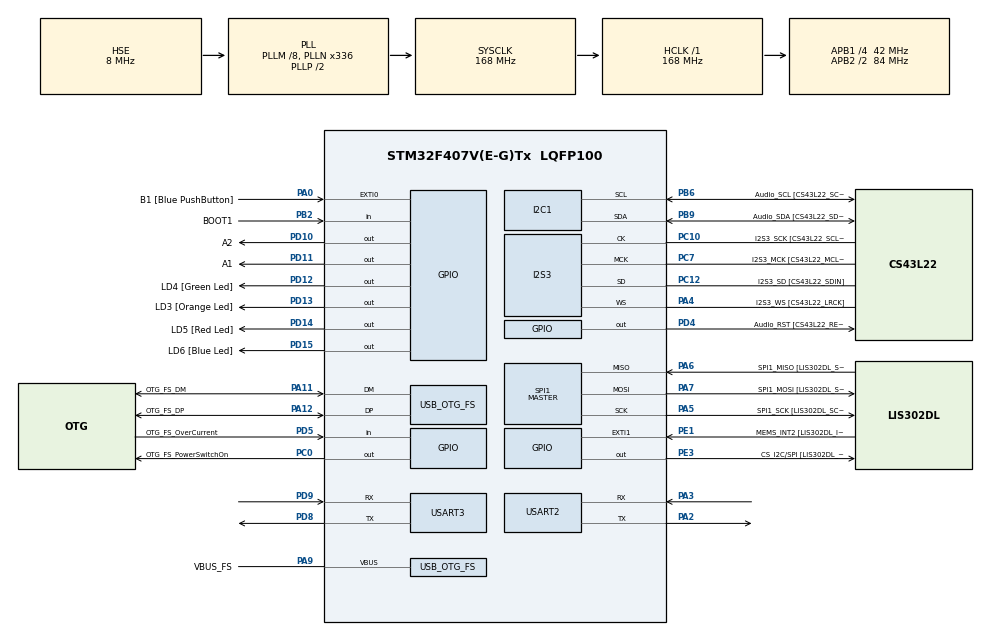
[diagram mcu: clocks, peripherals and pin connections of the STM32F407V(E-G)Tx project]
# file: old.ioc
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I2S3.AudioFreq-Half_Duplex_Master=I2S_AUDIOFREQ_96K
I2S3.ErrorAudioFreq=-2.34 %
I2S3.ErrorAudioFreq-Half_Duplex_Master=0.8 %
I2S3.FullDuplexMode=I2S_FULLDUPLEXMODE_DISABLE
I2S3.Instance=SPI$Index
I2S3.RealAudioFreq=93.75 KHz
I2S3.RealAudioFreq-Half_Duplex_Master=96.774 KHz
I2S3.VirtualMode=I2S_MODE_MASTER
Mcu.Family=STM32F4
Mcu.Name=STM32F407V(E-G)Tx
Mcu.Package=LQFP100
NVIC.OTG_FS_IRQn=true\:0\:0\:false\:false\:true\:true\:true
NVIC.PriorityGroup=NVIC_PRIORITYGROUP_0
PA0-WKUP.GPIO_Label=B1 [Blue PushButton]
PA0-WKUP.GPIO_ModeDefaultEXTI=GPIO_MODE_EVT_RISING
PA0-WKUP.GPIO_PuPd=GPIO_NOPULL
PA0-WKUP.Signal=GPXTI0
PA10.GPIO_Label=OTG_FS_ID
PA10.GPIO_Mode=GPIO_MODE_AF_PP
PA10.GPIO_PuPd=GPIO_NOPULL
PA10.GPIO_Speed=GPIO_SPEED_FREQ_LOW
PA10.Signal=USB_OTG_FS_ID
PA11.GPIO_Label=OTG_FS_DM
PA11.GPIO_Mode=GPIO_MODE_AF_PP
PA11.GPIO_PuPd=GPIO_NOPULL
PA11.GPIO_Speed=GPIO_SPEED_FREQ_LOW
PA11.Mode=Host_Only
PA11.Signal=USB_OTG_FS_DM
PA12.GPIO_Label=OTG_FS_DP
PA12.GPIO_Mode=GPIO_MODE_AF_PP
PA12.GPIO_PuPd=GPIO_NOPULL
PA12.GPIO_Speed=GPIO_SPEED_FREQ_LOW
PA12.Mode=Host_Only
PA12.Signal=USB_OTG_FS_DP
PA13.GPIO_Label=SWDIO
PA13.Mode=Serial_Wire
PA13.Signal=SYS_JTMS-SWDIO
PA14.GPIO_Label=SWCLK
PA14.Mode=Serial_Wire
PA14.Signal=SYS_JTCK-SWCLK
PA2.Mode=Asynchronous
PA2.Signal=USART2_TX
PA3.Mode=Asynchronous
PA3.Signal=USART2_RX
PA4.GPIO_Label=I2S3_WS [CS43L22_LRCK]
PA4.GPIO_Mode=GPIO_MODE_AF_PP
PA4.GPIO_PuPd=GPIO_NOPULL
PA4.GPIO_Speed=GPIO_SPEED_FREQ_LOW
PA4.Mode=Half_Duplex_Master
PA4.Signal=I2S3_WS
PA5.GPIO_Label=SPI1_SCK [LIS302DL_SCL/SPC]
PA5.GPIO_Mode=GPIO_MODE_AF_PP
PA5.GPIO_PuPd=GPIO_NOPULL
PA5.GPIO_Speed=GPIO_SPEED_FREQ_LOW
PA5.Mode=Full_Duplex_Master
PA5.Signal=SPI1_SCK
PA6.GPIO_Label=SPI1_MISO [LIS302DL_SDO]
PA6.GPIO_Mode=GPIO_MODE_AF_PP
PA6.GPIO_PuPd=GPIO_NOPULL
PA6.GPIO_Speed=GPIO_SPEED_FREQ_LOW
PA6.Mode=Full_Duplex_Master
PA6.Signal=SPI1_MISO
PA7.GPIO_Label=SPI1_MOSI [LIS302DL_SDA/SDI/SDO]
PA7.GPIO_Mode=GPIO_MODE_AF_PP
PA7.GPIO_PuPd=GPIO_NOPULL
PA7.GPIO_Speed=GPIO_SPEED_FREQ_LOW
PA7.Mode=Full_Duplex_Master
PA7.Signal=SPI1_MOSI
PA9.GPIO_Label=VBUS_FS
PA9.GPIO_Mode=GPIO_MODE_INPUT
PA9.GPIO_PuPd=GPIO_NOPULL
PA9.Mode=Activate_VBUS
PA9.Signal=USB_OTG_FS_VBUS
PB10.GPIO_Label=CLK_IN [MP45DT02_CLK]
PB10.GPIO_Mode=GPIO_MODE_AF_PP
PB10.GPIO_PuPd=GPIO_NOPULL
PB10.GPIO_Speed=GPIO_SPEED_FREQ_LOW
PB10.Signal=I2S2_CK
PB2.GPIO_Label=BOOT1
PB2.GPIO_Mode=GPIO_MODE_INPUT
PB2.GPIO_PuPd=GPIO_NOPULL
PB2.Signal=GPIO_Input
PB3.GPIO_Label=SWO
PB3.Signal=SYS_JTDO-SWO
PB6.GPIO_Label=Audio_SCL [CS43L22_SCL]
PB6.GPIO_Mode=GPIO_MODE_AF_OD
PB6.GPIO_PuPd=GPIO_NOPULL
PB6.GPIO_Speed=GPIO_SPEED_FREQ_LOW
PB6.Mode=I2C
PB6.Signal=I2C1_SCL
PB9.GPIO_Label=Audio_SDA [CS43L22_SDA]
PB9.GPIO_Mode=GPIO_MODE_AF_OD
PB9.GPIO_PuPd=GPIO_NOPULL
PB9.GPIO_Speed=GPIO_SPEED_FREQ_LOW
PB9.Mode=I2C
PB9.Signal=I2C1_SDA
PC0.GPIO_Label=OTG_FS_PowerSwitchOn
PC0.GPIO_PuPd=GPIO_NOPULL
PC0.GPIO_Speed=GPIO_SPEED_FREQ_LOW
PC0.PinState=GPIO_PIN_SET
PC0.Signal=GPIO_Output
PC10.GPIO_Label=I2S3_SCK [CS43L22_SCLK]
PC10.GPIO_Mode=GPIO_MODE_AF_PP
PC10.GPIO_PuPd=GPIO_NOPULL
PC10.GPIO_Speed=GPIO_SPEED_FREQ_LOW
PC10.Mode=Half_Duplex_Master
PC10.Signal=I2S3_CK
PC12.GPIO_Label=I2S3_SD [CS43L22_SDIN]
PC12.GPIO_Mode=GPIO_MODE_AF_PP
PC12.GPIO_PuPd=GPIO_NOPULL
PC12.GPIO_Speed=GPIO_SPEED_FREQ_LOW
PC12.Mode=Half_Duplex_Master
PC12.Signal=I2S3_SD
PC14-OSC32_IN.GPIO_Label=PC14-OSC32_IN
PC14-OSC32_IN.Mode=LSE-External-Oscillator
PC14-OSC32_IN.Signal=RCC_OSC32_IN
PC15-OSC32_OUT.GPIO_Label=PC15-OSC32_OUT
PC15-OSC32_OUT.Mode=LSE-External-Oscillator
PC15-OSC32_OUT.Signal=RCC_OSC32_OUT
PC3.GPIO_Label=PDM_OUT [MP45DT02_DOUT]
PC3.GPIO_Mode=GPIO_MODE_AF_PP
PC3.GPIO_PuPd=GPIO_NOPULL
PC3.GPIO_Speed=GPIO_SPEED_FREQ_LOW
PC3.Signal=I2S2_SD
PC7.GPIO_Label=I2S3_MCK [CS43L22_MCLK]
PC7.GPIO_Mode=GPIO_MODE_AF_PP
PC7.GPIO_PuPd=GPIO_NOPULL
PC7.GPIO_Speed=GPIO_SPEED_FREQ_LOW
PC7.Mode=Master_Clock_Activated
PC7.Signal=I2S3_MCK
PD10.GPIO_Label=A2
PD10.Signal=GPIO_Output
PD11.GPIO_Label=A1
PD11.Signal=GPIO_Output
PD12.GPIO_Label=LD4 [Green Led]
PD12.GPIO_PuPd=GPIO_NOPULL
PD12.GPIO_Speed=GPIO_SPEED_FREQ_LOW
PD12.Signal=GPIO_Output
PD13.GPIO_Label=LD3 [Orange Led]
PD13.GPIO_PuPd=GPIO_NOPULL
PD13.GPIO_Speed=GPIO_SPEED_FREQ_LOW
PD13.Signal=GPIO_Output
PD14.GPIO_Label=LD5 [Red Led]
PD14.GPIO_PuPd=GPIO_NOPULL
PD14.GPIO_Speed=GPIO_SPEED_FREQ_LOW
PD14.Signal=GPIO_Output
PD15.GPIO_Label=LD6 [Blue Led]
PD15.GPIO_PuPd=GPIO_NOPULL
PD15.GPIO_Speed=GPIO_SPEED_FREQ_LOW
PD15.Signal=GPIO_Output
PD4.GPIO_Label=Audio_RST [CS43L22_RESET]
PD4.GPIO_PuPd=GPIO_NOPULL
PD4.GPIO_Speed=GPIO_SPEED_FREQ_LOW
PD4.Signal=GPIO_Output
PD5.GPIO_Label=OTG_FS_OverCurrent
PD5.GPIO_Mode=GPIO_MODE_INPUT
PD5.GPIO_PuPd=GPIO_NOPULL
PD5.Signal=GPIO_Input
PD8.Mode=Asynchronous
PD8.Signal=USART3_TX
PD9.Mode=Asynchronous
PD9.Signal=USART3_RX
PE1.GPIO_Label=MEMS_INT2 [LIS302DL_INT2]
PE1.GPIO_ModeDefaultEXTI=GPIO_MODE_EVT_RISING
PE1.GPIO_PuPd=GPIO_NOPULL
PE1.Signal=GPXTI1
PE3.GPIO_Label=CS_I2C/SPI [LIS302DL_CS_I2C/SPI]
PE3.GPIO_PuPd=GPIO_NOPULL
PE3.GPIO_Speed=GPIO_SPEED_FREQ_LOW
PE3.Signal=GPIO_Output
PH0-OSC_IN.GPIO_Label=PH0-OSC_IN
PH0-OSC_IN.Mode=HSE-External-Oscillator
PH0-OSC_IN.Signal=RCC_OSC_IN
PH1-OSC_OUT.GPIO_Label=PH1-OSC_OUT
PH1-OSC_OUT.Mode=HSE-External-Oscillator
PH1-OSC_OUT.Signal=RCC_OSC_OUT
ProjectManager.HeapSize=0x200
ProjectManager.StackSize=0x400
ProjectManager.TargetToolchain=STM32CubeIDE
RCC.48MHZClocksFreq_Value=48000000
RCC.AHBFreq_Value=168000000
RCC.APB1CLKDivider=RCC_HCLK_DIV4
RCC.APB1Freq_Value=42000000
RCC.APB1TimFreq_Value=84000000
RCC.APB2CLKDivider=RCC_HCLK_DIV2
RCC.APB2Freq_Value=84000000
RCC.APB2TimFreq_Value=168000000
RCC.CortexFreq_Value=168000000
RCC.HCLKFreq_Value=168000000
RCC.HSE_VALUE=8000000
RCC.HSI_VALUE=16000000
RCC.PLLM=8
RCC.PLLN=336
RCC.PLLQ=7
RCC.SYSCLKFreq_VALUE=168000000
RCC.SYSCLKSource=RCC_SYSCLKSOURCE_PLLCLK
RCC.VCOOutputFreq_Value=336000000
SPI1.BaudRatePrescaler-Full_Duplex_Master=SPI_BAUDRATEPRESCALER_2
SPI1.CalculateBaudRate-Full_Duplex_Master=42.0 MBits/s
SPI1.Direction=SPI_DIRECTION_2LINES
SPI1.Mode=SPI_MODE_MASTER
SPI1.Mode-Full_Duplex_Master=SPI_MODE_MASTER
SPI1.VirtualType=VM_MASTER
USART2.VirtualMode=VM_ASYNC
USART3.VirtualMode=VM_ASYNC
USB_HOST.BSP.number=1
USB_HOST.USBH_HandleTypeDef-CDC_FS=hUsbHostFS
USB_HOST.VirtualModeFS=Cdc
USB_HOST0.BSP.STBoard=false
USB_HOST0.BSP.api=Unknown
USB_HOST0.BSP.i2caddr=0
USB_HOST0.BSP.i2creg=0
USB_HOST0.BSP.instance=PC0
USB_HOST0.BSP.ip=GPIO
USB_HOST0.BSP.mode=Output
USB_HOST0.BSP.name=Drive_VBUS_FS
USB_HOST0.BSP.solution=PC0
USB_OTG_FS.VirtualMode=Host_Only
USB_OTG_FS.phy_itface=HCD_PHY_EMBEDDED
VP_USB_HOST_VS_USB_HOST_CDC_FS.Mode=CDC_FS
board=STM32F4DISCOVERY

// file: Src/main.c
/* USER CODE BEGIN Header */
/**
 ******************************************************************************
 * @file           : main.c
 * @brief          : Main program body
 ******************************************************************************
 * @attention
 *
 * <h2><center>&copy; Copyright (c) 2019 STMicroelectronics.
 * All rights reserved.</center></h2>
 *
 * This software component is licensed by ST under Ultimate Liberty license
 * SLA0044, the "License"; You may not use this file except in compliance with
 * the License. You may obtain a copy of the License at:
 *                             www.st.com/SLA0044
 *
 ******************************************************************************
 */
/* USER CODE END Header */

#include "main.h"
#include "usb_host.h"

I2C_HandleTypeDef hi2c1;

I2S_HandleTypeDef hi2s3;

SPI_HandleTypeDef hspi1;

UART_HandleTypeDef huart2;
UART_HandleTypeDef huart3;

void SystemClock_Config(void);
static void MX_GPIO_Init(void);
static void MX_I2C1_Init(void);
static void MX_I2S3_Init(void);
static void MX_SPI1_Init(void);
static void MX_USART2_UART_Init(void);
static void MX_USART3_UART_Init(void);
void MX_USB_HOST_Process(void);

/* USER CODE BEGIN 0 */
#define DHT11_PORT GPIOA
#define DHT11_PIN GPIO_PIN_1
int current = 0;
int setpoint = 0;
uint8_t Rh_byte1, Rh_byte2, Temp_byte1, Temp_byte2;
uint16_t sum;
int temp_low, temp_high, rh_low, rh_high;
uint8_t check = 0;
GPIO_InitTypeDef GPIO_InitStruct;
void set_gpio_output(void) {
	/*Configure GPIO pin output: PA2 */
	GPIO_InitStruct.Pin = DHT11_PIN;
	GPIO_InitStruct.Mode = GPIO_MODE_OUTPUT_PP;
	GPIO_InitStruct.Speed = GPIO_SPEED_FREQ_LOW;
	HAL_GPIO_Init(DHT11_PORT, &GPIO_InitStruct);
}

void set_gpio_input(void) {
	/*Configure GPIO pin input: PA2 */
	GPIO_InitStruct.Pin = DHT11_PIN;
	GPIO_InitStruct.Mode = GPIO_MODE_INPUT;
	GPIO_InitStruct.Pull = GPIO_NOPULL;
	HAL_GPIO_Init(DHT11_PORT, &GPIO_InitStruct);
}

void DHT11_start(void) {
	set_gpio_output();  // set the pin as output
	HAL_GPIO_WritePin(DHT11_PORT, DHT11_PIN, 0);   // pull the pin low
	HAL_Delay(18);   // wait for 18ms
	set_gpio_input();   // set as input
}

void check_response(void) {
	DWT_Delay(40);
	if (!(HAL_GPIO_ReadPin(DHT11_PORT, DHT11_PIN))) {
		DWT_Delay(80);
		//HAL_GPIO_TogglePin(GPIOD, LD5_Pin);
		if ((HAL_GPIO_ReadPin(DHT11_PORT, DHT11_PIN))) {
			check = 1;
		}
		//HAL_GPIO_TogglePin(GPIOD, LD6_Pin);
	}
	while ((HAL_GPIO_ReadPin(DHT11_PORT, DHT11_PIN))) {
		;
	} // wait for the pin to go low
}

uint8_t read_data(void) {
	uint8_t i, j;
	for (j = 0; j < 8; j++) {
		while (!(HAL_GPIO_ReadPin(DHT11_PORT, DHT11_PIN)))
			;   // wait for the pin to go high
		DWT_Delay(40);   // wait for 40 us
		if ((HAL_GPIO_ReadPin(DHT11_PORT, DHT11_PIN)) == 0) // if the pin is low
				{
			i &= ~(1 << (7 - j));   // write 0
		} else
			i |= (1 << (7 - j));  // if the pin is high, write 1
		while ((HAL_GPIO_ReadPin(DHT11_PORT, DHT11_PIN))) {
			;
		} // wait for the pin to go low
	}
	return i;
}
/* USER CODE END 0 */

int i_data = 134;
int f_data = 345;
uint16_t count = 0;
int mode = 1; // 1 is auto, 2 is manual
int main(void) {

	/* MCU Configuration--------------------------------------------------------*/

	/* Reset of all peripherals, Initializes the Flash interface and the Systick. */
	HAL_Init();

	/* Configure the system clock */
	SystemClock_Config();

	/* Initialize all configured peripherals */
	MX_GPIO_Init();
	MX_I2C1_Init();
	MX_I2S3_Init();
	MX_SPI1_Init();
	MX_USB_HOST_Init();
	MX_USART2_UART_Init();
	MX_USART3_UART_Init();

	/* Infinite loop */
	while (1) {
		MX_USB_HOST_Process();

		/* USER CODE BEGIN 3 */
		if (count % 4000 == 0) {
			count=0;
			HAL_GPIO_TogglePin(GPIOD, LD5_Pin);
			DHT11_start();
			check_response();
			Rh_byte1 = read_data();
			Rh_byte2 = read_data();
			Temp_byte1 = read_data();
			Temp_byte2 = read_data();
			sum = read_data();
			if (sum == Rh_byte1 + Rh_byte2 + Temp_byte1 + Temp_byte2) {
				current = Rh_byte1;
				char c[1024];
				sprintf(c, "%d", Rh_byte1);
				HAL_UART_Transmit(&huart3, &c, strlen(c), 1000);
				sprintf(c, " ");
				HAL_UART_Transmit(&huart3, &c, strlen(c), 1000);
				sprintf(c, "%d", Rh_byte2);
				HAL_UART_Transmit(&huart3, &c, strlen(c), 1000);
				sprintf(c, " ");
				HAL_UART_Transmit(&huart3, &c, strlen(c), 1000);
				sprintf(c, "%d", Temp_byte1);
				HAL_UART_Transmit(&huart3, &c, strlen(c), 1000);
				sprintf(c, " ");
				HAL_UART_Transmit(&huart3, &c, strlen(c), 1000);
				sprintf(c, "%d", Temp_byte2);
				HAL_UART_Transmit(&huart3, &c, strlen(c), 1000);
				sprintf(c, "\n");
				HAL_UART_Transmit(&huart3, &c, strlen(c), 1000);
			}
		}
		count += 1000;

		char g[2] = "";

		if (HAL_UART_Receive(&huart3, g, 2, 1000) == HAL_OK) {
			int a = atoi(g);
			if (a != 15 && a != 13) {
				setpoint = a;
				char d[222] = "";
				sprintf(d, "%d", setpoint);
				HAL_GPIO_WritePin(GPIOD, LD3_Pin, 1);
				mode = 1;
				HAL_UART_Transmit(&huart2, d, strlen(d), 1000);
				HAL_Delay(100);
				HAL_GPIO_WritePin(GPIOD, LD3_Pin, 0);
			} else if (a == 15) {
				HAL_UART_Transmit(&huart2, g, strlen(g), 1000);
				HAL_GPIO_WritePin(GPIOD, LD4_Pin, 1);
				mode = 2;
				HAL_Delay(100);
			} else if (a == 13) {
				HAL_UART_Transmit(&huart2, g, strlen(g), 1000);
				HAL_GPIO_WritePin(GPIOD, LD4_Pin, 1);
				mode = 3;
				HAL_Delay(100);
			}

		}
		if (mode == 1) {
			HAL_GPIO_WritePin(GPIOD, LD4_Pin, 0);
			if (current < setpoint) {
				HAL_GPIO_WritePin(GPIOD, A1_Pin, 0);
				HAL_GPIO_WritePin(GPIOD, A2_Pin, 1);
				HAL_GPIO_WritePin(GPIOD, LD6_Pin, 1);
			} else {
				HAL_GPIO_WritePin(GPIOD, A1_Pin, 0);
				HAL_GPIO_WritePin(GPIOD, A2_Pin, 0);
				HAL_GPIO_WritePin(GPIOD, LD6_Pin, 0);
			}
		} else if (mode == 2) {
			HAL_GPIO_WritePin(GPIOD, A1_Pin, 0);
			HAL_GPIO_WritePin(GPIOD, A2_Pin, 1);
			HAL_GPIO_WritePin(GPIOD, LD6_Pin, 1);
		} else if (mode == 3) {
			HAL_GPIO_WritePin(GPIOD, A1_Pin, 0);
			HAL_GPIO_WritePin(GPIOD, A2_Pin, 0);
			HAL_GPIO_WritePin(GPIOD, LD6_Pin, 0);
		}
	}
	/* USER CODE END 3 */
}

void SystemClock_Config(void) {
	RCC_OscInitTypeDef RCC_OscInitStruct = { 0 };
	RCC_ClkInitTypeDef RCC_ClkInitStruct = { 0 };
	RCC_PeriphCLKInitTypeDef PeriphClkInitStruct = { 0 };

	/** Configure the main internal regulator output voltage
	 */
	__HAL_RCC_PWR_CLK_ENABLE()
	;
	__HAL_PWR_VOLTAGESCALING_CONFIG(PWR_REGULATOR_VOLTAGE_SCALE1);
	/** Initializes the CPU, AHB and APB busses clocks
	 */
	RCC_OscInitStruct.OscillatorType = RCC_OSCILLATORTYPE_HSE;
	RCC_OscInitStruct.HSEState = RCC_HSE_ON;
	RCC_OscInitStruct.PLL.PLLState = RCC_PLL_ON;
	RCC_OscInitStruct.PLL.PLLSource = RCC_PLLSOURCE_HSE;
	RCC_OscInitStruct.PLL.PLLM = 8;
	RCC_OscInitStruct.PLL.PLLN = 336;
	RCC_OscInitStruct.PLL.PLLP = RCC_PLLP_DIV2;
	RCC_OscInitStruct.PLL.PLLQ = 7;
	if (HAL_RCC_OscConfig(&RCC_OscInitStruct) != HAL_OK) {
		Error_Handler();
	}
	/** Initializes the CPU, AHB and APB busses clocks
	 */
	RCC_ClkInitStruct.ClockType = RCC_CLOCKTYPE_HCLK | RCC_CLOCKTYPE_SYSCLK
			| RCC_CLOCKTYPE_PCLK1 | RCC_CLOCKTYPE_PCLK2;
	RCC_ClkInitStruct.SYSCLKSource = RCC_SYSCLKSOURCE_PLLCLK;
	RCC_ClkInitStruct.AHBCLKDivider = RCC_SYSCLK_DIV1;
	RCC_ClkInitStruct.APB1CLKDivider = RCC_HCLK_DIV4;
	RCC_ClkInitStruct.APB2CLKDivider = RCC_HCLK_DIV2;

	if (HAL_RCC_ClockConfig(&RCC_ClkInitStruct, FLASH_LATENCY_5) != HAL_OK) {
		Error_Handler();
	}
	PeriphClkInitStruct.PeriphClockSelection = RCC_PERIPHCLK_I2S;
	PeriphClkInitStruct.PLLI2S.PLLI2SN = 192;
	PeriphClkInitStruct.PLLI2S.PLLI2SR = 2;
	if (HAL_RCCEx_PeriphCLKConfig(&PeriphClkInitStruct) != HAL_OK) {
		Error_Handler();
	}
}

static void MX_I2C1_Init(void) {

	hi2c1.Instance = I2C1;
	hi2c1.Init.ClockSpeed = 100000;
	hi2c1.Init.DutyCycle = I2C_DUTYCYCLE_2;
	hi2c1.Init.OwnAddress1 = 0;
	hi2c1.Init.AddressingMode = I2C_ADDRESSINGMODE_7BIT;
	hi2c1.Init.DualAddressMode = I2C_DUALADDRESS_DISABLE;
	hi2c1.Init.OwnAddress2 = 0;
	hi2c1.Init.GeneralCallMode = I2C_GENERALCALL_DISABLE;
	hi2c1.Init.NoStretchMode = I2C_NOSTRETCH_DISABLE;
	if (HAL_I2C_Init(&hi2c1) != HAL_OK) {
		Error_Handler();
	}

}

static void MX_I2S3_Init(void) {

	hi2s3.Instance = SPI3;
	hi2s3.Init.Mode = I2S_MODE_MASTER_TX;
	hi2s3.Init.Standard = I2S_STANDARD_PHILIPS;
	hi2s3.Init.DataFormat = I2S_DATAFORMAT_16B;
	hi2s3.Init.MCLKOutput = I2S_MCLKOUTPUT_ENABLE;
	hi2s3.Init.AudioFreq = I2S_AUDIOFREQ_96K;
	hi2s3.Init.CPOL = I2S_CPOL_LOW;
	hi2s3.Init.ClockSource = I2S_CLOCK_PLL;
	hi2s3.Init.FullDuplexMode = I2S_FULLDUPLEXMODE_DISABLE;
	if (HAL_I2S_Init(&hi2s3) != HAL_OK) {
		Error_Handler();
	}

}

static void MX_SPI1_Init(void) {

	/* SPI1 parameter configuration*/
	hspi1.Instance = SPI1;
	hspi1.Init.Mode = SPI_MODE_MASTER;
	hspi1.Init.Direction = SPI_DIRECTION_2LINES;
	hspi1.Init.DataSize = SPI_DATASIZE_8BIT;
	hspi1.Init.CLKPolarity = SPI_POLARITY_LOW;
	hspi1.Init.CLKPhase = SPI_PHASE_1EDGE;
	hspi1.Init.NSS = SPI_NSS_SOFT;
	hspi1.Init.BaudRatePrescaler = SPI_BAUDRATEPRESCALER_2;
	hspi1.Init.FirstBit = SPI_FIRSTBIT_MSB;
	hspi1.Init.TIMode = SPI_TIMODE_DISABLE;
	hspi1.Init.CRCCalculation = SPI_CRCCALCULATION_DISABLE;
	hspi1.Init.CRCPolynomial = 10;
	if (HAL_SPI_Init(&hspi1) != HAL_OK) {
		Error_Handler();
	}

}

static void MX_USART2_UART_Init(void) {

	huart2.Instance = USART2;
	huart2.Init.BaudRate = 115200;
	huart2.Init.WordLength = UART_WORDLENGTH_8B;
	huart2.Init.StopBits = UART_STOPBITS_1;
	huart2.Init.Parity = UART_PARITY_NONE;
	huart2.Init.Mode = UART_MODE_TX_RX;
	huart2.Init.HwFlowCtl = UART_HWCONTROL_NONE;
	huart2.Init.OverSampling = UART_OVERSAMPLING_16;
	if (HAL_UART_Init(&huart2) != HAL_OK) {
		Error_Handler();
	}

}

static void MX_USART3_UART_Init(void) {

	huart3.Instance = USART3;
	huart3.Init.BaudRate = 115200;
	huart3.Init.WordLength = UART_WORDLENGTH_8B;
	huart3.Init.StopBits = UART_STOPBITS_1;
	huart3.Init.Parity = UART_PARITY_NONE;
	huart3.Init.Mode = UART_MODE_TX_RX;
	huart3.Init.HwFlowCtl = UART_HWCONTROL_NONE;
	huart3.Init.OverSampling = UART_OVERSAMPLING_16;
	if (HAL_UART_Init(&huart3) != HAL_OK) {
		Error_Handler();
	}

}

static void MX_GPIO_Init(void) {
	GPIO_InitTypeDef GPIO_InitStruct = { 0 };

	/* GPIO Ports Clock Enable */
	__HAL_RCC_GPIOE_CLK_ENABLE()
	;
	__HAL_RCC_GPIOC_CLK_ENABLE()
	;
	__HAL_RCC_GPIOH_CLK_ENABLE()
	;
	__HAL_RCC_GPIOA_CLK_ENABLE()
	;
	__HAL_RCC_GPIOB_CLK_ENABLE()
	;
	__HAL_RCC_GPIOD_CLK_ENABLE()
	;

	/*Configure GPIO pin Output Level */
	HAL_GPIO_WritePin(CS_I2C_SPI_GPIO_Port, CS_I2C_SPI_Pin, GPIO_PIN_RESET);

	/*Configure GPIO pin Output Level */
	HAL_GPIO_WritePin(OTG_FS_PowerSwitchOn_GPIO_Port, OTG_FS_PowerSwitchOn_Pin,
			GPIO_PIN_SET);

	/*Configure GPIO pin Output Level */
	HAL_GPIO_WritePin(GPIOD,
	A2_Pin | A1_Pin | LD4_Pin | LD3_Pin | LD5_Pin | LD6_Pin | Audio_RST_Pin,
			GPIO_PIN_RESET);

	/*Configure GPIO pin : CS_I2C_SPI_Pin */
	GPIO_InitStruct.Pin = CS_I2C_SPI_Pin;
	GPIO_InitStruct.Mode = GPIO_MODE_OUTPUT_PP;
	GPIO_InitStruct.Pull = GPIO_NOPULL;
	GPIO_InitStruct.Speed = GPIO_SPEED_FREQ_LOW;
	HAL_GPIO_Init(CS_I2C_SPI_GPIO_Port, &GPIO_InitStruct);

	/*Configure GPIO pin : OTG_FS_PowerSwitchOn_Pin */
	GPIO_InitStruct.Pin = OTG_FS_PowerSwitchOn_Pin;
	GPIO_InitStruct.Mode = GPIO_MODE_OUTPUT_PP;
	GPIO_InitStruct.Pull = GPIO_NOPULL;
	GPIO_InitStruct.Speed = GPIO_SPEED_FREQ_LOW;
	HAL_GPIO_Init(OTG_FS_PowerSwitchOn_GPIO_Port, &GPIO_InitStruct);

	/*Configure GPIO pin : PDM_OUT_Pin */
	GPIO_InitStruct.Pin = PDM_OUT_Pin;
	GPIO_InitStruct.Mode = GPIO_MODE_AF_PP;
	GPIO_InitStruct.Pull = GPIO_NOPULL;
	GPIO_InitStruct.Speed = GPIO_SPEED_FREQ_LOW;
	GPIO_InitStruct.Alternate = GPIO_AF5_SPI2;
	HAL_GPIO_Init(PDM_OUT_GPIO_Port, &GPIO_InitStruct);

	/*Configure GPIO pin : B1_Pin */
	GPIO_InitStruct.Pin = B1_Pin;
	GPIO_InitStruct.Mode = GPIO_MODE_EVT_RISING;
	GPIO_InitStruct.Pull = GPIO_NOPULL;
	HAL_GPIO_Init(B1_GPIO_Port, &GPIO_InitStruct);

	/*Configure GPIO pin : BOOT1_Pin */
	GPIO_InitStruct.Pin = BOOT1_Pin;
	GPIO_InitStruct.Mode = GPIO_MODE_INPUT;
	GPIO_InitStruct.Pull = GPIO_NOPULL;
	HAL_GPIO_Init(BOOT1_GPIO_Port, &GPIO_InitStruct);

	/*Configure GPIO pin : CLK_IN_Pin */
	GPIO_InitStruct.Pin = CLK_IN_Pin;
	GPIO_InitStruct.Mode = GPIO_MODE_AF_PP;
	GPIO_InitStruct.Pull = GPIO_NOPULL;
	GPIO_InitStruct.Speed = GPIO_SPEED_FREQ_LOW;
	GPIO_InitStruct.Alternate = GPIO_AF5_SPI2;
	HAL_GPIO_Init(CLK_IN_GPIO_Port, &GPIO_InitStruct);

	/*Configure GPIO pins : A2_Pin A1_Pin LD4_Pin LD3_Pin
	 LD5_Pin LD6_Pin Audio_RST_Pin */
	GPIO_InitStruct.Pin = A2_Pin | A1_Pin | LD4_Pin | LD3_Pin | LD5_Pin
			| LD6_Pin | Audio_RST_Pin;
	GPIO_InitStruct.Mode = GPIO_MODE_OUTPUT_PP;
	GPIO_InitStruct.Pull = GPIO_NOPULL;
	GPIO_InitStruct.Speed = GPIO_SPEED_FREQ_LOW;
	HAL_GPIO_Init(GPIOD, &GPIO_InitStruct);

	/*Configure GPIO pin : OTG_FS_OverCurrent_Pin */
	GPIO_InitStruct.Pin = OTG_FS_OverCurrent_Pin;
	GPIO_InitStruct.Mode = GPIO_MODE_INPUT;
	GPIO_InitStruct.Pull = GPIO_NOPULL;
	HAL_GPIO_Init(OTG_FS_OverCurrent_GPIO_Port, &GPIO_InitStruct);

	/*Configure GPIO pin : MEMS_INT2_Pin */
	GPIO_InitStruct.Pin = MEMS_INT2_Pin;
	GPIO_InitStruct.Mode = GPIO_MODE_EVT_RISING;
	GPIO_InitStruct.Pull = GPIO_NOPULL;
	HAL_GPIO_Init(MEMS_INT2_GPIO_Port, &GPIO_InitStruct);

}

void Error_Handler(void) {
}

/************************ (C) COPYRIGHT STMicroelectronics *****END OF FILE****/
